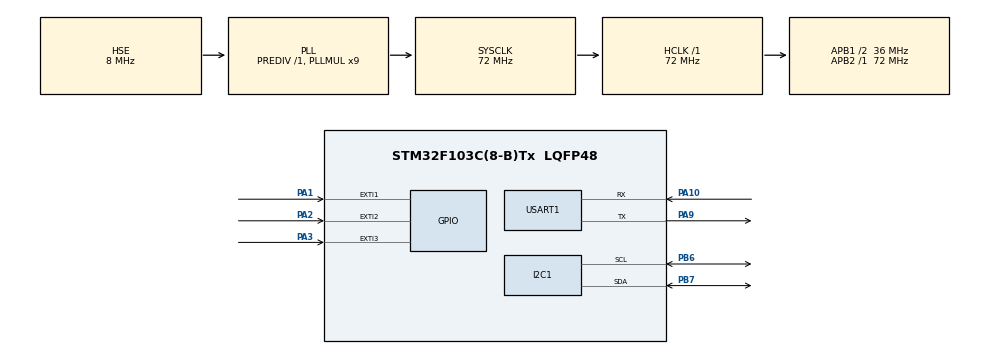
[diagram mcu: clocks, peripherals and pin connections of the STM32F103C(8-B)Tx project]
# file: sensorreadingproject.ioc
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Mcu.Family=STM32F1
Mcu.Name=STM32F103C(8-B)Tx
Mcu.Package=LQFP48
NVIC.EXTI1_IRQn=true\:0\:0\:false\:false\:true\:true\:true\:true
NVIC.EXTI2_IRQn=true\:0\:0\:false\:false\:true\:true\:true\:true
NVIC.EXTI3_IRQn=true\:0\:0\:false\:false\:true\:true\:true\:true
NVIC.PriorityGroup=NVIC_PRIORITYGROUP_4
PA1.Signal=GPXTI1
PA10.Mode=Asynchronous
PA10.Signal=USART1_RX
PA13.Mode=Serial_Wire
PA13.Signal=SYS_JTMS-SWDIO
PA14.Mode=Serial_Wire
PA14.Signal=SYS_JTCK-SWCLK
PA2.Signal=GPXTI2
PA3.Signal=GPXTI3
PA9.Mode=Asynchronous
PA9.Signal=USART1_TX
PB6.Mode=I2C
PB6.Signal=I2C1_SCL
PB7.Mode=I2C
PB7.Signal=I2C1_SDA
PD0-OSC_IN.Mode=HSE-External-Oscillator
PD0-OSC_IN.Signal=RCC_OSC_IN
PD1-OSC_OUT.Mode=HSE-External-Oscillator
PD1-OSC_OUT.Signal=RCC_OSC_OUT
ProjectManager.HeapSize=0x200
ProjectManager.StackSize=0x400
ProjectManager.TargetToolchain=STM32CubeIDE
RCC.AHBFreq_Value=72000000
RCC.APB1CLKDivider=RCC_HCLK_DIV2
RCC.APB1Freq_Value=36000000
RCC.APB1TimFreq_Value=72000000
RCC.APB2Freq_Value=72000000
RCC.APB2TimFreq_Value=72000000
RCC.HCLKFreq_Value=72000000
RCC.PLLMUL=RCC_PLL_MUL9
RCC.PLLSourceVirtual=RCC_PLLSOURCE_HSE
RCC.SYSCLKFreq_VALUE=72000000
RCC.SYSCLKSource=RCC_SYSCLKSOURCE_PLLCLK
RCC.USBFreq_Value=72000000
USART1.VirtualMode=VM_ASYNC
board=custom

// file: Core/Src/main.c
/* USER CODE BEGIN Header */
/**
  ******************************************************************************
  * @file           : main.c
  * @brief          : Main program body
  ******************************************************************************
  * @attention
  *
  * Copyright (c) 2026 STMicroelectronics.
  * All rights reserved.
  *
  * This software is licensed under terms that can be found in the LICENSE file
  * in the root directory of this software component.
  * If no LICENSE file comes with this software, it is provided AS-IS.
  *
  ******************************************************************************
  */
/* USER CODE END Header */
#include "main.h"

/* USER CODE BEGIN Includes */
#include "BME280.h"
#include <stdio.h>
#include <string.h>

/* USER CODE END Includes */

I2C_HandleTypeDef hi2c1;

UART_HandleTypeDef huart1;

void SystemClock_Config(void);
static void MX_GPIO_Init(void);
static void MX_I2C1_Init(void);
static void MX_USART1_UART_Init(void);

/* USER CODE BEGIN 0 */
int T , P , H ;
extern UART_HandleTypeDef huart1;
volatile int count = 0;
volatile int T_temp = 0 , P_temp = 0 , H_temp = 0 ;
volatile uint8_t show_flag = 0;
volatile uint32_t last_p1 = 0;
volatile uint32_t last_p2 = 0;
volatile uint32_t last_p3 = 0 ;

int _write(int file, char *ptr, int len)
{
    HAL_UART_Transmit(&huart1, (uint8_t*)ptr, len, HAL_MAX_DELAY);
    return len;
}

/* USER CODE END 0 */

int main(void)
{

  /* MCU Configuration--------------------------------------------------------*/

  /* Reset of all peripherals, Initializes the Flash interface and the Systick. */
  HAL_Init();

  /* Configure the system clock */
  SystemClock_Config();

  /* Initialize all configured peripherals */
  MX_GPIO_Init();
  MX_I2C1_Init();
  MX_USART1_UART_Init();
  /* USER CODE BEGIN 2 */
  BME280_Config(OSRS_2, OSRS_16, OSRS_1, normal, T_SB_0p5, IIR_16);

  printf("you have 3 buttons first one is to switch what you want to read second is to save them third is to display them for 5 seconds\n");

  /* USER CODE END 2 */

  /* Infinite loop */
  while (1)
  {

    /* USER CODE BEGIN 3 */
	  BME280_Measure();

	  if(show_flag){
		  show_flag = 0;
		  printf("the values saved are: \n");
		  printf("T: %d\n" , T_temp);
		  printf("P: %d\n" , P_temp);
		  printf("H: %d\n" , H_temp);
		  HAL_Delay(5000);
	  }

	  switch(count){
	  case 0:
		  printf("T: %d  P: %d  H: %d\r\n" , T , P , H);
		  break;
	  case 1:
		  printf("Temperature: %d C\r\n" , T);
		  break;
	  case 2:
		  printf("Pressure: %d hPa\r\n" , P );
		  break;
	  case 3:
		  printf("Humidity: %d %%\r\n" , H );
		  break;
	  default:
		  printf("nothing clicked fr\n");
		  break;
	  }

  }
  /* USER CODE END 3 */
}

void SystemClock_Config(void)
{
  RCC_OscInitTypeDef RCC_OscInitStruct = {0};
  RCC_ClkInitTypeDef RCC_ClkInitStruct = {0};

  /** Initializes the RCC Oscillators according to the specified parameters
  * in the RCC_OscInitTypeDef structure.
  */
  RCC_OscInitStruct.OscillatorType = RCC_OSCILLATORTYPE_HSE;
  RCC_OscInitStruct.HSEState = RCC_HSE_ON;
  RCC_OscInitStruct.HSEPredivValue = RCC_HSE_PREDIV_DIV1;
  RCC_OscInitStruct.HSIState = RCC_HSI_ON;
  RCC_OscInitStruct.PLL.PLLState = RCC_PLL_ON;
  RCC_OscInitStruct.PLL.PLLSource = RCC_PLLSOURCE_HSE;
  RCC_OscInitStruct.PLL.PLLMUL = RCC_PLL_MUL9;
  if (HAL_RCC_OscConfig(&RCC_OscInitStruct) != HAL_OK)
  {
    Error_Handler();
  }

  /** Initializes the CPU, AHB and APB buses clocks
  */
  RCC_ClkInitStruct.ClockType = RCC_CLOCKTYPE_HCLK|RCC_CLOCKTYPE_SYSCLK
                              |RCC_CLOCKTYPE_PCLK1|RCC_CLOCKTYPE_PCLK2;
  RCC_ClkInitStruct.SYSCLKSource = RCC_SYSCLKSOURCE_PLLCLK;
  RCC_ClkInitStruct.AHBCLKDivider = RCC_SYSCLK_DIV1;
  RCC_ClkInitStruct.APB1CLKDivider = RCC_HCLK_DIV2;
  RCC_ClkInitStruct.APB2CLKDivider = RCC_HCLK_DIV1;

  if (HAL_RCC_ClockConfig(&RCC_ClkInitStruct, FLASH_LATENCY_2) != HAL_OK)
  {
    Error_Handler();
  }
}

static void MX_I2C1_Init(void)
{

  hi2c1.Instance = I2C1;
  hi2c1.Init.ClockSpeed = 100000;
  hi2c1.Init.DutyCycle = I2C_DUTYCYCLE_2;
  hi2c1.Init.OwnAddress1 = 0;
  hi2c1.Init.AddressingMode = I2C_ADDRESSINGMODE_7BIT;
  hi2c1.Init.DualAddressMode = I2C_DUALADDRESS_DISABLE;
  hi2c1.Init.OwnAddress2 = 0;
  hi2c1.Init.GeneralCallMode = I2C_GENERALCALL_DISABLE;
  hi2c1.Init.NoStretchMode = I2C_NOSTRETCH_DISABLE;
  if (HAL_I2C_Init(&hi2c1) != HAL_OK)
  {
    Error_Handler();
  }

}

static void MX_USART1_UART_Init(void)
{

  huart1.Instance = USART1;
  huart1.Init.BaudRate = 115200;
  huart1.Init.WordLength = UART_WORDLENGTH_8B;
  huart1.Init.StopBits = UART_STOPBITS_1;
  huart1.Init.Parity = UART_PARITY_NONE;
  huart1.Init.Mode = UART_MODE_TX_RX;
  huart1.Init.HwFlowCtl = UART_HWCONTROL_NONE;
  huart1.Init.OverSampling = UART_OVERSAMPLING_16;
  if (HAL_UART_Init(&huart1) != HAL_OK)
  {
    Error_Handler();
  }

}

static void MX_GPIO_Init(void)
{
  GPIO_InitTypeDef GPIO_InitStruct = {0};

  /* GPIO Ports Clock Enable */
  __HAL_RCC_GPIOD_CLK_ENABLE();
  __HAL_RCC_GPIOA_CLK_ENABLE();
  __HAL_RCC_GPIOB_CLK_ENABLE();

  /*Configure GPIO pins : PA1 PA2 PA3 */
  GPIO_InitStruct.Pin = GPIO_PIN_1|GPIO_PIN_2|GPIO_PIN_3;
  GPIO_InitStruct.Mode = GPIO_MODE_IT_RISING;
  GPIO_InitStruct.Pull = GPIO_NOPULL;
  HAL_GPIO_Init(GPIOA, &GPIO_InitStruct);

  /* EXTI interrupt init*/
  HAL_NVIC_SetPriority(EXTI1_IRQn, 0, 0);
  HAL_NVIC_EnableIRQ(EXTI1_IRQn);

  HAL_NVIC_SetPriority(EXTI2_IRQn, 0, 0);
  HAL_NVIC_EnableIRQ(EXTI2_IRQn);

  HAL_NVIC_SetPriority(EXTI3_IRQn, 0, 0);
  HAL_NVIC_EnableIRQ(EXTI3_IRQn);

}

/* USER CODE BEGIN 4 */
void HAL_GPIO_EXTI_Callback(uint16_t GPIO_Pin){

	uint32_t now = HAL_GetTick();
	if(GPIO_Pin == GPIO_PIN_1 &&  now - last_p1 > 50 ){
		  if(count == 3 ){
			  count = 0;
		  }
		  else{
			  count += 1 ;
		  }
		  last_p1 = now;
	  }
	else if(GPIO_Pin == GPIO_PIN_2 && now - last_p2 > 50 ){
		T_temp = T;
		P_temp = P;
		H_temp = H;
		last_p2 = now;
	}
	else if(GPIO_Pin == GPIO_PIN_3 && now - last_p3 > 50 ){
		show_flag = 1;
		last_p3 = now;
	}

}

/* USER CODE END 4 */

void Error_Handler(void)
{
  __disable_irq();
  while (1)
  {
  }
}
